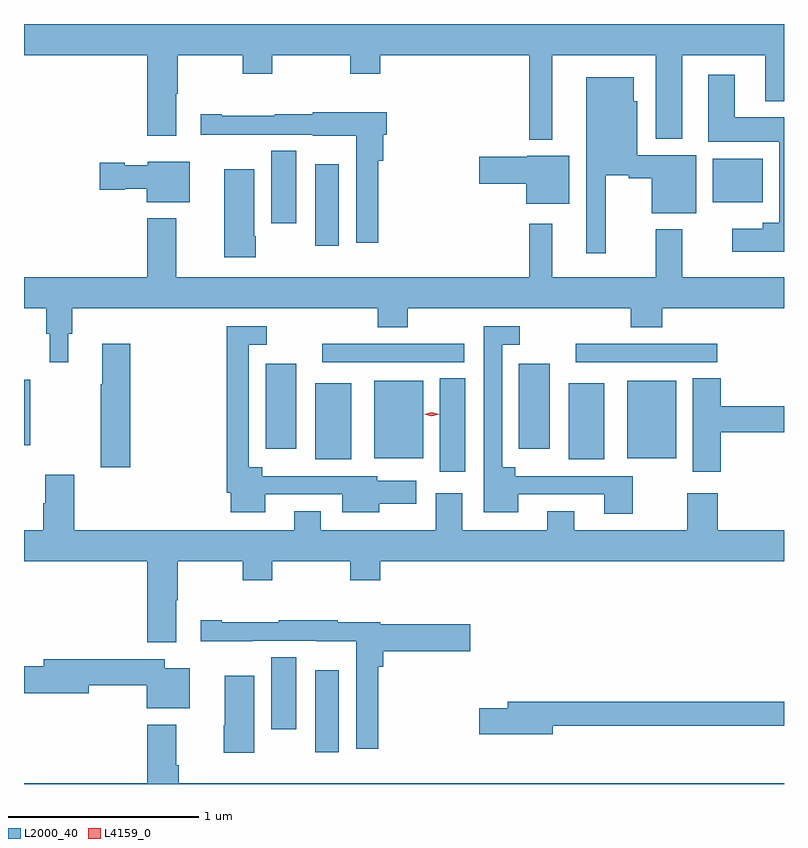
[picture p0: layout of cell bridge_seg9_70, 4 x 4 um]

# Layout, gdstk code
import gdstk
lib = gdstk.Library(unit=1e-6, precision=1e-09)
def R(c, l, rs):  # rectangles x0, y0, x1, y1
    for r in rs: c.add(gdstk.rectangle(r[:2], r[2:], *l))
def P(c, l, *ps):  # polygons
    for p in ps: c.add(gdstk.Polygon(p, *l))
L2000_40 = (2000, 40)
L4159_0 = (4159, 0)

bridge_seg9_70 = lib.new_cell('bridge_seg9_70')
R(bridge_seg9_70, L2000_40, [(1037.378,1208.736,1037.5,1209.166), (1037.144,1208.856,1037.278,1209.236), (1038.032,1210.212,1038.166,1210.703), (1037.378,1210.277,1037.566,1210.678), (1038.71,1210.277,1038.898,1210.678), (1037.687,1210.283,1037.944,1210.69), (1039.019,1210.283,1039.276,1210.69), (1037.117,1210.332,1037.278,1210.78), (1038.449,1210.332,1038.61,1210.78), (1035.844,1210.352,1035.876,1210.696), (1037.415,1210.788,1038.16,1210.884), (1038.747,1210.788,1039.492,1210.884), (1037.378,1211.4,1037.5,1211.83), (1037.144,1211.52,1037.278,1211.9), (1039.469,1211.63,1039.732,1211.86)])
P(bridge_seg9_70, L2000_40, [(1038.625,1212.404),(1039.169,1212.404),(1039.169,1211.963),(1039.309,1211.963),(1039.309,1212.404),(1039.745,1212.404),(1039.745,1212.161),(1039.844,1212.161),(1039.844,1212.568),(1035.844,1212.568),(1035.844,1212.404),(1036.493,1212.404),(1036.493,1211.979),(1036.645,1211.979),(1036.645,1212.2),(1036.653,1212.2),(1036.653,1212.404),(1036.996,1212.404),(1036.996,1212.305),(1037.151,1212.305),(1037.151,1212.404),(1037.56,1212.404),(1037.56,1212.305),(1037.72,1212.305),(1037.72,1212.404),(1038.504,1212.404),(1038.504,1211.96),(1038.625,1211.96)],
  [(1039.844,1212.076),(1039.585,1212.076),(1039.585,1212.301),(1039.445,1212.301),(1039.445,1211.948),(1039.82,1211.948),(1039.82,1211.521),(1039.733,1211.521),(1039.733,1211.491),(1039.572,1211.491),(1039.572,1211.369),(1039.844,1211.369)],
  [(1038.907,1211.771),(1039.028,1211.771),(1039.028,1211.756),(1039.148,1211.756),(1039.148,1211.573),(1039.381,1211.573),(1039.381,1211.878),(1039.072,1211.878),(1039.072,1212.162),(1039.054,1212.162),(1039.054,1212.289),(1038.803,1212.289),(1038.803,1211.361),(1038.907,1211.361)],
  [(1037.708,1211.849),(1037.735,1211.849),(1037.735,1211.985),(1037.753,1211.985),(1037.753,1212.103),(1037.364,1212.103),(1037.364,1212.094),(1037.164,1212.094),(1037.164,1212.084),(1036.885,1212.084),(1036.885,1212.094),(1036.773,1212.094),(1036.773,1211.984),(1037.048,1211.984),(1037.048,1211.985),(1037.364,1211.985),(1037.364,1211.981),(1037.592,1211.981),(1037.592,1211.418),(1037.708,1211.418)],
  [(1038.715,1211.875),(1038.492,1211.875),(1038.492,1211.87),(1038.24,1211.87),(1038.24,1211.728),(1038.488,1211.728),(1038.488,1211.621),(1038.715,1211.621)],
  [(1036.717,1211.842),(1036.494,1211.842),(1036.494,1211.824),(1036.374,1211.824),(1036.374,1211.837),(1036.242,1211.837),(1036.242,1211.695),(1036.374,1211.695),(1036.374,1211.702),(1036.49,1211.702),(1036.49,1211.63),(1036.717,1211.63)],
  [(1037.064,1211.452),(1037.056,1211.452),(1037.056,1211.803),(1036.898,1211.803),(1036.898,1211.34),(1037.064,1211.34)],
  [(1036.078,1210.938),(1036.097,1210.938),(1036.097,1211.072),(1037.705,1211.072),(1037.705,1210.973),(1037.865,1210.973),(1037.865,1211.072),(1039.037,1211.072),(1039.037,1210.973),(1039.202,1210.973),(1039.202,1211.072),(1039.844,1211.072),(1039.844,1211.236),(1039.309,1211.236),(1039.309,1211.488),(1039.169,1211.488),(1039.169,1211.236),(1038.625,1211.236),(1038.625,1211.518),(1038.504,1211.518),(1038.504,1211.236),(1036.645,1211.236),(1036.645,1211.545),(1036.493,1211.545),(1036.493,1211.236),(1035.844,1211.236),(1035.844,1211.072),(1035.961,1211.072),(1035.961,1210.938),(1035.98,1210.938),(1035.98,1210.788),(1036.078,1210.788)],
  [(1037.113,1210.092),(1037.519,1210.092),(1037.519,1209.998),(1037.715,1209.998),(1037.715,1210.043),(1037.908,1210.043),(1037.908,1210.165),(1037.703,1210.165),(1037.703,1210.188),(1037.098,1210.188),(1037.098,1210.234),(1037.028,1210.234),(1037.028,1210.881),(1037.122,1210.881),(1037.122,1210.977),(1036.912,1210.977),(1036.912,1210.102),(1036.931,1210.102),(1036.931,1209.998),(1037.113,1209.998)],
  [(1039.047,1210.188),(1038.43,1210.188),(1038.43,1210.234),(1038.36,1210.234),(1038.36,1210.881),(1038.454,1210.881),(1038.454,1210.977),(1038.264,1210.977),(1038.264,1209.998),(1038.445,1209.998),(1038.445,1210.092),(1038.899,1210.092),(1038.899,1209.99),(1039.047,1209.99)],
  [(1036.403,1210.885),(1036.256,1210.885),(1036.256,1210.672),(1036.249,1210.672),(1036.249,1210.236),(1036.403,1210.236)],
  [(1039.511,1210.42),(1039.844,1210.42),(1039.844,1210.556),(1039.511,1210.556),(1039.511,1210.703),(1039.364,1210.703),(1039.364,1210.212),(1039.511,1210.212)],
  [(1036.645,1209.536),(1036.653,1209.536),(1036.653,1209.74),(1036.996,1209.74),(1036.996,1209.641),(1037.151,1209.641),(1037.151,1209.74),(1037.56,1209.74),(1037.56,1209.641),(1037.72,1209.641),(1037.72,1209.74),(1039.844,1209.74),(1039.844,1209.904),(1039.496,1209.904),(1039.496,1210.099),(1039.336,1210.099),(1039.336,1209.904),(1038.739,1209.904),(1038.739,1210.003),(1038.599,1210.003),(1038.599,1209.904),(1038.151,1209.904),(1038.151,1210.099),(1038.011,1210.099),(1038.011,1209.904),(1037.407,1209.904),(1037.407,1210.003),(1037.267,1210.003),(1037.267,1209.904),(1036.109,1209.904),(1036.109,1210.195),(1035.956,1210.195),(1035.956,1210.046),(1035.944,1210.046),(1035.944,1209.904),(1035.844,1209.904),(1035.844,1209.74),(1036.493,1209.74),(1036.493,1209.315),(1036.645,1209.315)],
  [(1037.708,1209.185),(1037.735,1209.185),(1037.735,1209.266),(1038.193,1209.266),(1038.193,1209.408),(1037.718,1209.408),(1037.718,1209.42),(1037.495,1209.42),(1037.495,1209.43),(1037.185,1209.43),(1037.185,1209.42),(1036.885,1209.42),(1036.885,1209.43),(1036.773,1209.43),(1036.773,1209.32),(1037.048,1209.32),(1037.048,1209.321),(1037.382,1209.321),(1037.382,1209.32),(1037.592,1209.32),(1037.592,1208.754),(1037.708,1208.754)],
  [(1036.717,1209.178),(1036.584,1209.178),(1036.584,1209.224),(1035.947,1209.224),(1035.947,1209.188),(1035.844,1209.188),(1035.844,1209.046),(1036.186,1209.046),(1036.186,1209.088),(1036.49,1209.088),(1036.49,1208.966),(1036.717,1208.966)],
  [(1037.056,1209.139),(1036.901,1209.139),(1036.901,1208.877),(1036.895,1208.877),(1036.895,1208.733),(1037.056,1208.733)],
  [(1038.628,1208.874),(1039.844,1208.874),(1039.844,1209.002),(1038.389,1209.002),(1038.389,1208.966),(1038.24,1208.966),(1038.24,1208.831),(1038.628,1208.831)],
  [(1039.844,1208.572),(1036.658,1208.572),(1036.658,1208.668),(1036.645,1208.668),(1036.645,1208.881),(1036.493,1208.881),(1036.493,1208.572),(1035.844,1208.572),(1035.844,1208.568),(1039.844,1208.568)])
P(bridge_seg9_70, L4159_0, [(1037.99,1210.504),(1037.951,1210.513),(1037.951,1210.514),(1037.951,1210.514),(1037.99,1210.524),(1038.03,1210.514),(1038.03,1210.514),(1038.03,1210.514)])

lib.write_gds('bridge_seg9_70.gds')
